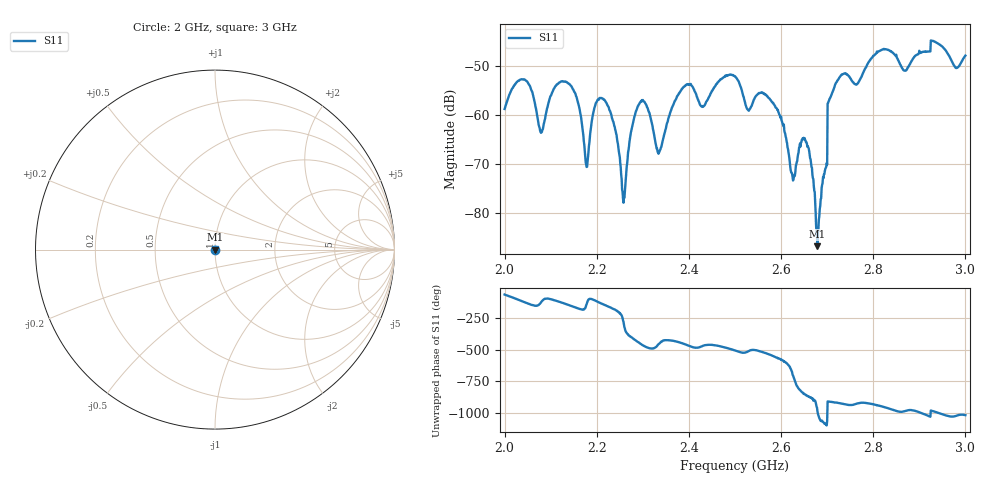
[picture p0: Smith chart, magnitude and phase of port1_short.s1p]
!Created with skrf (http://scikit-rf.org).
# GHz S RI R 50.0
!freq ReS11 ImS11
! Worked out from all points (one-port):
!   1001 points, 2 GHz to 3 GHz, reference 50 ohm
!   lowest |S11| = -86.7 dB at 2.679 GHz (marker M1), VSWR 1.00, Z = 50 + j0.00462 ohm
!   |S11| at or under -10 dB: start of sweep to end of sweep
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2  0.000469 -0.00105
2.045  -0.00141 -0.00176
2.08  -0.000356 -0.000562
2.125  -0.00143 -0.00168
2.157  -0.00145 -0.000207
2.177  -0.000272 -0.000151
2.21  -0.00109 -0.00101
2.234  -0.000901 -6.55e-05
2.25  -0.000301 0.000214
2.26  0.000116 8.48e-05
2.276  0.000515 -0.000509
2.295  -9.3e-05 -0.00136
2.335  -3.18e-05 -0.000413
2.375  0.000327 -0.00153
2.431  -0.00039 -0.00115
2.5  -0.00205 -0.00138
2.528  -0.00102 -0.000481
2.588  -0.00113 0.000382
2.625  0.000215 8.37e-05
2.652  -0.000376 -0.000409
2.679  -2.5e-06 4.62e-05
2.695  0.000269 -4.37e-06
2.706  -0.00145 0.000242
2.75  -0.0019 0.0014
2.822  -0.00296 0.00356
2.875  -0.000648 0.00298
2.93  -0.000526 0.00563
3  0.00176 0.0036
